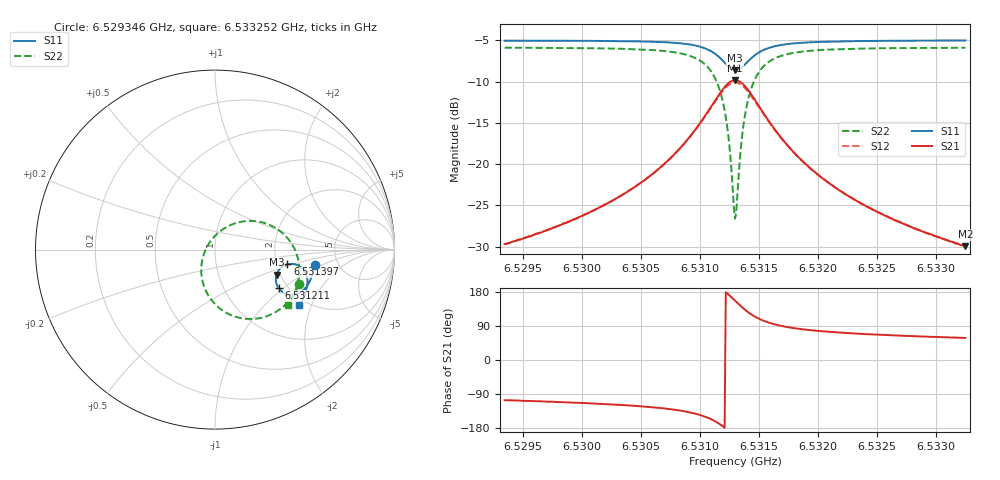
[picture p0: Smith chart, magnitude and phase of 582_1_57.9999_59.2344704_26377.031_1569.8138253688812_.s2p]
#  HZ  S  RI  R  50.00
! Rohde & Schwarz Vector Network Analyzer
! Rohde-Schwarz,ZNB20-2Port,1311601062101988,3.16
! Created: UTC 3/21/2024, 1:16:21 AM
! freq[Hz]  re:S11  im:S11  re:S21  im:S21  re:S12  im:S12  re:S22  im:S22
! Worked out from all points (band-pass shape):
!   401 points, 6.529346 GHz to 6.533252 GHz, reference 50 ohm
!   highest |S21| = -9.83 dB at 6.531299 GHz (marker M1); lowest = -29.9 dB at 6.533252 GHz (marker M2)
!   |S21| within 3 dB of the highest: 6.531106 GHz to 6.531496 GHz (390.5 kHz wide, 0.00598 % of centre)
!   lowest |S11| = -8.6 dB at 6.531299 GHz (marker M3), VSWR 2.17, Z = 95.7 - j30.8 ohm
!   |S11| at or under -10 dB: nowhere
!   |S22| runs from -26.6 to -5.9 dB; largest |S21 - S12| = 0.013
!   S11 on the Smith chart (normalised r, x): 6.529346 GHz: 3.34, -0.81; 6.531211 GHz: 1.79, -0.92; 6.531397 GHz: 2.29, -0.45; 6.533252 GHz: 1.83, -1.64
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6.529346e9  0.5544 -0.0833  -0.00914 -0.0314  -0.00966 -0.0312  0.47 -0.1941
6.5300004e9  0.5422 -0.1382  -0.0193 -0.0446  -0.0203 -0.0441  0.4363 -0.2549
6.530391e9  0.5283 -0.1751  -0.0339 -0.0593  -0.0354 -0.0585  0.3983 -0.3012
6.5306547e9  0.5114 -0.2043  -0.0555 -0.0757  -0.0577 -0.0741  0.3498 -0.341
6.5308793e9  0.4827 -0.2333  -0.0977 -0.0949  -0.1005 -0.0912  0.2649 -0.3783
6.5310453e9  0.4365 -0.251  -0.1693 -0.0995  -0.1713 -0.0924  0.1343 -0.3797
6.531143e9  0.3897 -0.2435  -0.2411 -0.0699  -0.2398 -0.0596  0.0143 -0.3171
6.5312113e9  0.3538 -0.2133  -0.2933 -0.00721  -0.2864 0.00312  -0.0619 -0.2029
6.5312406e9  0.3432 -0.1916  -0.3064 0.0337  -0.2971 0.0425  -0.0762 -0.1329
6.5312797e9  0.3394 -0.1567  -0.306 0.0964  -0.2943 0.1017  -0.064 -0.0306
6.5312992e9  0.343 -0.1389  -0.2963 0.1276  -0.2843 0.1307  -0.0428 0.0187
6.531309e9  0.3464 -0.1303  -0.2893 0.1426  -0.2773 0.1445  -0.0287 0.0416
6.5313188e9  0.3506 -0.1222  -0.2807 0.1566  -0.269 0.1574  -0.0124 0.0629
6.5313578e9  0.3741 -0.0959  -0.2361 0.201  -0.2261 0.1987  0.0681 0.1278
6.5313969e9  0.403 -0.0823  -0.1838 0.2239  -0.1767 0.2202  0.1576 0.157
6.5314652e9  0.4488 -0.0828  -0.1043 0.2241  -0.1008 0.2205  0.2902 0.1429
6.5315629e9  0.4881 -0.1066  -0.0368 0.1894  -0.0353 0.1874  0.3987 0.0699
6.5317094e9  0.5103 -0.1445  0.00266 0.1391  0.00392 0.1383  0.4569 -0.0307
6.5319535e9  0.5152 -0.1888  0.0189 0.0903  0.0199 0.09  0.4698 -0.1314
6.5322465e9  0.5087 -0.2246  0.0209 0.0615  0.0219 0.0613  0.4586 -0.198
6.5326078e9  0.4964 -0.2586  0.0197 0.0431  0.0205 0.0428  0.4393 -0.2486
6.5332524e9  0.4708 -0.3075  0.0167 0.0271  0.0173 0.0268  0.4044 -0.307
